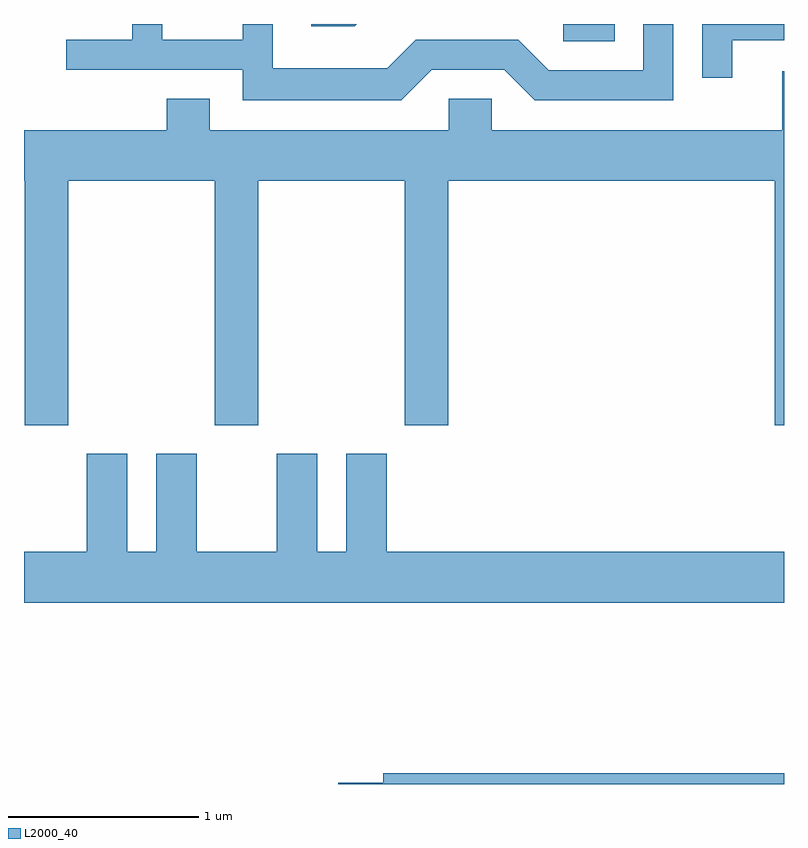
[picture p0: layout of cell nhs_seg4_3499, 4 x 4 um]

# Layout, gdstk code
import gdstk
lib = gdstk.Library(unit=1e-6, precision=1e-09)
def R(c, l, rs):  # rectangles x0, y0, x1, y1
    for r in rs: c.add(gdstk.rectangle(r[:2], r[2:], *l))
def P(c, l, *ps):  # polygons
    for p in ps: c.add(gdstk.Polygon(p, *l))
L2000_40 = (2000, 40)

nhs_seg4_3499 = lib.new_cell('nhs_seg4_3499')
R(nhs_seg4_3499, L2000_40, [(290.448,1319.891,290.719,1319.982)])
P(nhs_seg4_3499, L2000_40, [(289.363,1319.982),(289.123,1319.982),(289.123,1319.971),(289.352,1319.971)],
  [(289.757,1319.741),(290.139,1319.741),(290.299,1319.581),(291.029,1319.581),(291.029,1319.982),(290.871,1319.982),(290.871,1319.739),(290.372,1319.739),(290.212,1319.899),(289.674,1319.899),(289.524,1319.749),(288.919,1319.749),(288.919,1319.982),(288.761,1319.982),(288.761,1319.899),(288.339,1319.899),(288.339,1319.982),(288.181,1319.982),(288.181,1319.899),(287.833,1319.899),(287.833,1319.741),(288.761,1319.741),(288.761,1319.581),(289.597,1319.581)],
  [(291.339,1319.896),(291.611,1319.896),(291.611,1319.982),(291.181,1319.982),(291.181,1319.698),(291.339,1319.698)],
  [(288.589,1319.589),(288.361,1319.589),(288.361,1319.424),(287.611,1319.424),(287.611,1319.156),(287.616,1319.156),(287.616,1317.871),(287.844,1317.871),(287.844,1319.156),(288.616,1319.156),(288.616,1317.871),(288.844,1317.871),(288.844,1319.156),(289.616,1319.156),(289.616,1317.871),(289.844,1317.871),(289.844,1319.156),(291.561,1319.156),(291.561,1317.871),(291.611,1317.871),(291.611,1319.734),(291.601,1319.734),(291.601,1319.424),(290.074,1319.424),(290.074,1319.589),(289.846,1319.589),(289.846,1319.424),(288.589,1319.424)],
  [(291.611,1317.204),(289.519,1317.204),(289.519,1317.719),(289.306,1317.719),(289.306,1317.204),(289.154,1317.204),(289.154,1317.719),(288.941,1317.719),(288.941,1317.204),(288.519,1317.204),(288.519,1317.719),(288.306,1317.719),(288.306,1317.204),(288.154,1317.204),(288.154,1317.719),(287.941,1317.719),(287.941,1317.204),(287.611,1317.204),(287.611,1316.936),(291.611,1316.936)],
  [(291.611,1316.039),(289.501,1316.039),(289.501,1315.989),(289.266,1315.989),(289.266,1315.982),(291.611,1315.982)])

lib.write_gds('nhs_seg4_3499.gds')
